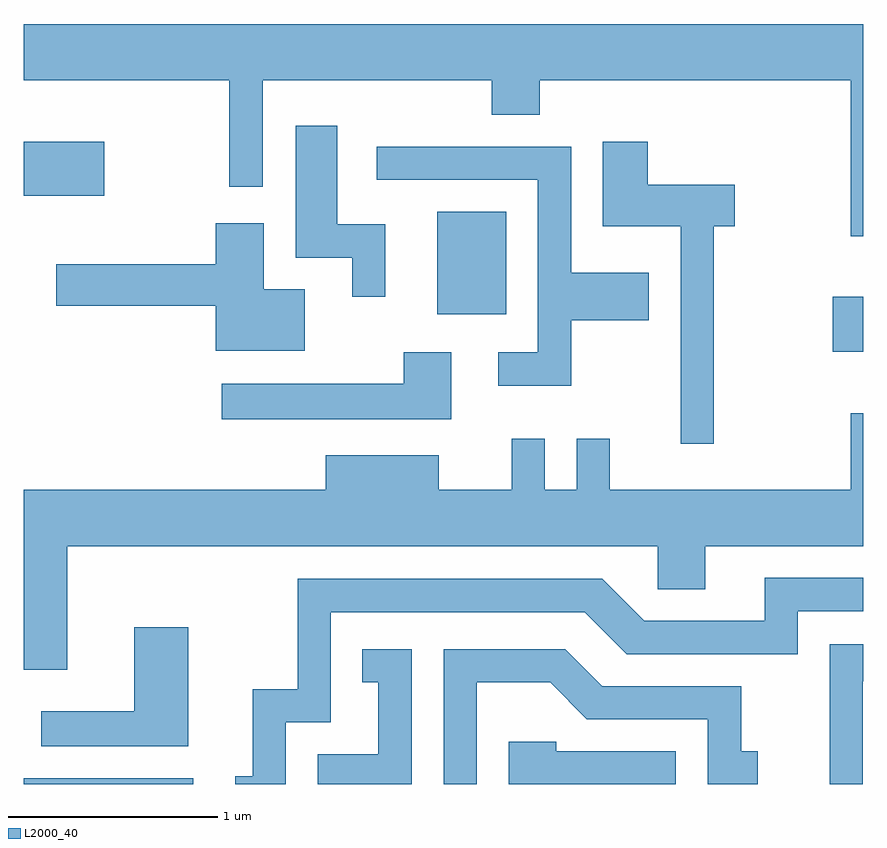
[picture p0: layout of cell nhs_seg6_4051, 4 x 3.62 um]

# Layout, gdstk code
import gdstk
lib = gdstk.Library(unit=1e-6, precision=1e-09)
def R(c, l, rs):  # rectangles x0, y0, x1, y1
    for r in rs: c.add(gdstk.rectangle(r[:2], r[2:], *l))
def P(c, l, *ps):  # polygons
    for p in ps: c.add(gdstk.Polygon(p, *l))
L2000_40 = (2000, 40)

nhs_seg6_4051 = lib.new_cell('nhs_seg6_4051')
R(nhs_seg6_4051, L2000_40, [(307.611,1622.162,308.418,1622.189), (311.466,1624.221,311.611,1624.484), (309.581,1624.401,309.909,1624.889), (307.611,1624.966,307.994,1625.224)])
P(nhs_seg6_4051, L2000_40, [(311.611,1625.784),(307.611,1625.784),(307.611,1625.516),(308.591,1625.516),(308.591,1625.008),(308.749,1625.008),(308.749,1625.516),(309.841,1625.516),(309.841,1625.351),(310.069,1625.351),(310.069,1625.516),(311.551,1625.516),(311.551,1624.773),(311.611,1624.773)],
  [(309.334,1624.829),(309.104,1624.829),(309.104,1625.299),(308.906,1625.299),(308.906,1624.671),(309.176,1624.671),(309.176,1624.483),(309.334,1624.483)],
  [(310.899,1624.821),(310.999,1624.821),(310.999,1625.019),(310.584,1625.019),(310.584,1625.224),(310.371,1625.224),(310.371,1624.821),(310.741,1624.821),(310.741,1623.783),(310.899,1623.783)],
  [(310.219,1624.371),(310.589,1624.371),(310.589,1624.599),(310.219,1624.599),(310.219,1625.199),(309.293,1625.199),(309.293,1625.041),(310.061,1625.041),(310.061,1624.219),(309.873,1624.219),(309.873,1624.061),(310.219,1624.061)],
  [(308.949,1624.519),(308.754,1624.519),(308.754,1624.834),(308.526,1624.834),(308.526,1624.639),(307.766,1624.639),(307.766,1624.441),(308.526,1624.441),(308.526,1624.226),(308.949,1624.226)],
  [(309.649,1624.219),(309.421,1624.219),(309.421,1624.069),(308.553,1624.069),(308.553,1623.901),(309.649,1623.901)],
  [(307.819,1623.296),(310.631,1623.296),(310.631,1623.091),(310.859,1623.091),(310.859,1623.296),(311.611,1623.296),(311.611,1623.928),(311.551,1623.928),(311.551,1623.564),(310.404,1623.564),(310.404,1623.808),(310.246,1623.808),(310.246,1623.564),(310.094,1623.564),(310.094,1623.808),(309.936,1623.808),(309.936,1623.564),(309.589,1623.564),(309.589,1623.729),(309.051,1623.729),(309.051,1623.564),(307.611,1623.564),(307.611,1622.706),(307.819,1622.706)],
  [(308.859,1622.456),(309.074,1622.456),(309.074,1622.981),(310.284,1622.981),(310.484,1622.781),(311.299,1622.781),(311.299,1622.986),(311.611,1622.986),(311.611,1623.144),(311.141,1623.144),(311.141,1622.939),(310.567,1622.939),(310.367,1623.139),(308.916,1623.139),(308.916,1622.614),(308.701,1622.614),(308.701,1622.199),(308.618,1622.199),(308.618,1622.162),(308.859,1622.162)],
  [(308.394,1622.909),(308.136,1622.909),(308.136,1622.509),(307.693,1622.509),(307.693,1622.341),(308.394,1622.341)],
  [(311.609,1622.651),(311.611,1622.651),(311.611,1622.829),(311.451,1622.829),(311.451,1622.162),(311.609,1622.162)],
  [(309.459,1622.804),(309.223,1622.804),(309.223,1622.646),(309.301,1622.646),(309.301,1622.304),(309.011,1622.304),(309.011,1622.162),(309.459,1622.162)],
  [(309.769,1622.646),(310.119,1622.646),(310.294,1622.471),(310.871,1622.471),(310.871,1622.162),(311.108,1622.162),(311.108,1622.319),(311.029,1622.319),(311.029,1622.629),(310.367,1622.629),(310.192,1622.804),(309.611,1622.804),(309.611,1622.162),(309.769,1622.162)],
  [(310.719,1622.319),(310.149,1622.319),(310.149,1622.364),(309.921,1622.364),(309.921,1622.162),(310.719,1622.162)])

lib.write_gds('nhs_seg6_4051.gds')
